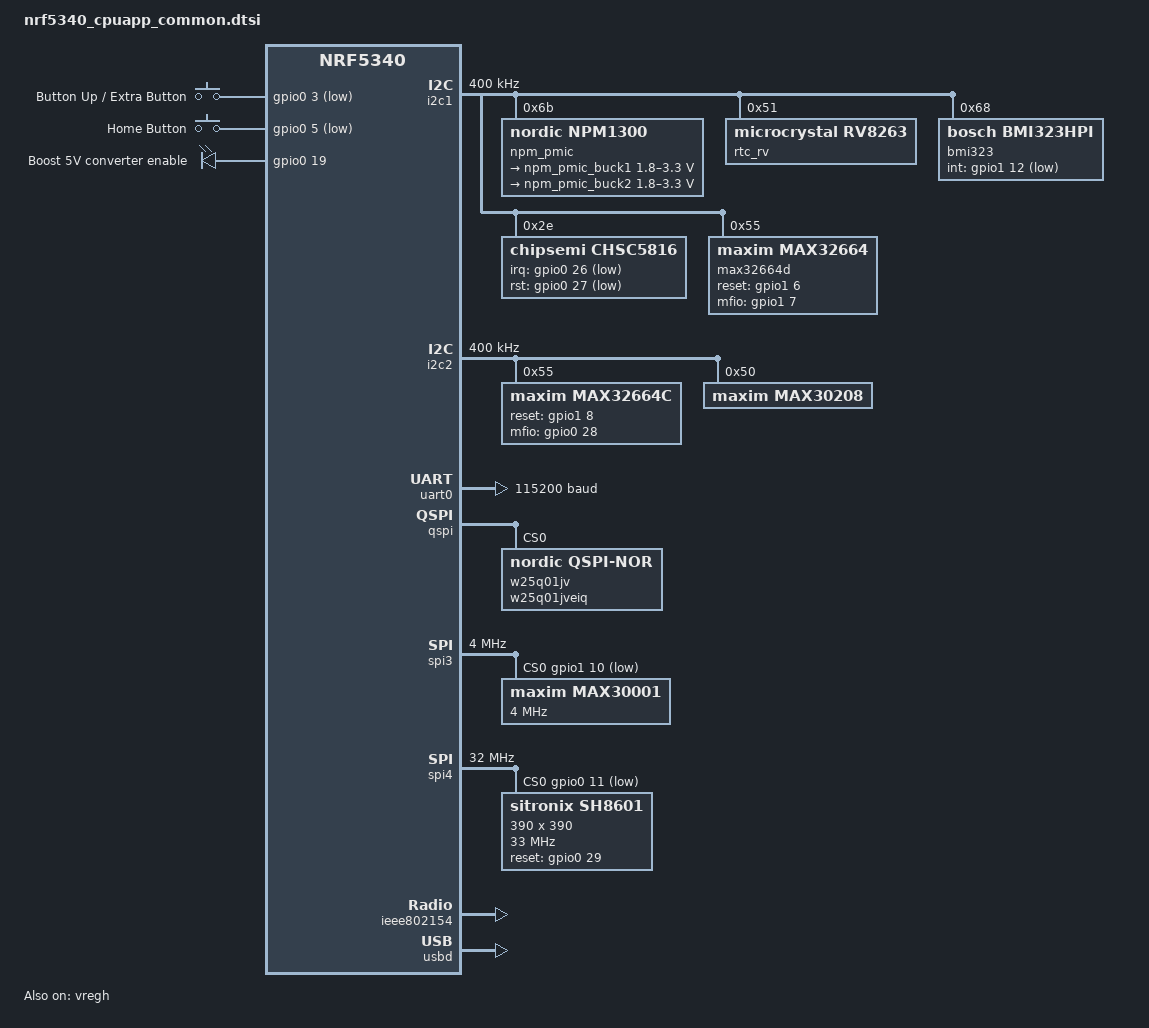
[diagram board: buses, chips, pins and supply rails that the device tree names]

/*
 * Copyright (c) 2019-2020 Nordic Semiconductor ASA
 *
 * SPDX-License-Identifier: Apache-2.0
 */
#include "nrf5340_cpuapp_common-pinctrl.dtsi"
#include <zephyr/dt-bindings/input/input-event-codes.h>
#include <dt-bindings/regulator/npm1300.h>

#include <zephyr/dt-bindings/mipi_dbi/mipi_dbi.h>
#include <zephyr/dt-bindings/lvgl/lvgl.h>

/ {

	chosen {
		zephyr,console = &uart0;
		zephyr,shell-uart = &uart0;
		zephyr,uart-mcumgr = &uart0;
		zephyr,bt-mon-uart = &uart0;
		zephyr,bt-c2h-uart = &uart0;
		zephyr,bt-hci = &bt_hci_ipc0;
		nordic,802154-spinel-ipc = &ipc0;
		zephyr,ieee802154 = &ieee802154;

		zephyr,display= &sh8601;
		nordic,pm-ext-flash = &w25q01jv;
	};

	gpiokeys: gpio_keys {
		compatible = "gpio-keys";
		button_up: sw1 {
			label = "Button Up / Extra Button";
			gpios = <&gpio0 3 (GPIO_PULL_UP | GPIO_ACTIVE_LOW)>;
			zephyr,code = <INPUT_KEY_UP>;
		};

		button_down: sw3 {
			label = "Home Button";
			gpios = <&gpio0 5 (GPIO_PULL_UP | GPIO_ACTIVE_LOW)>;
			zephyr,code = <INPUT_KEY_HOME>;
		};

		/*max30001_intb: max30001_intb {
			label = "MAX30001 INTB";
			gpios = <&gpio1 9 (GPIO_PULL_UP | GPIO_ACTIVE_LOW)>;
			zephyr,code = <INPUT_KEY_0>;
		};*/
	};

	ctrlgpio: gpio_ctrl {
		compatible = "gpio-leds";
		sensor_dcdc_en: dcdc_en {
			gpios = <&gpio0 19 GPIO_ACTIVE_HIGH>;
			label = "Boost 5V converter enable";
		};
	};

	gpio_fwd: nrf-gpio-forwarder {
		compatible = "nordic,nrf-gpio-forwarder";
		status = "okay";
		uart {
			gpios = <&gpio1 1 0>, <&gpio1 0 0>, <&gpio0 10 0>;
		};
	};

	/*mipi_dbi {
		compatible = "zephyr,mipi-dbi-spi";
		reset-gpios = <&gpio0 29 GPIO_ACTIVE_HIGH>;
		//dc-gpios = <&gpio0 12 GPIO_ACTIVE_HIGH>;
		spi-dev = <&spi4>;
		#address-cells = <1>;
		#size-cells = <0>;
	
		sh8601: sh8601@0 {
			compatible = "sitronix,sh8601";
			spi-max-frequency = <DT_FREQ_M(33)>;
			reg = <0>;
			reset-gpios = <&gpio0 29 GPIO_ACTIVE_HIGH>;
			//<&gpio0 29 GPIO_ACTIVE_HIGH>;
			width = <390>;
			height = <390>;
			pixel-format = <0>;
			display-inversion;
			rotation = <0>;
			status = "okay";
			//zephyr,deferred-init;
		};
	};*/

	aliases {
		max30001 = &max30001;
		max32664d = &max32664d;
		//maxm86146 = &maxm86146;
		max32664c = &max32664c;
		rtc = &rtc_rv;
	};

	pointer {
		compatible = "zephyr,lvgl-pointer-input";
		input = <&chsc5816>;
		swap-xy;
	};
};

/* 
/ {
	lvgl_pointer_input: lvgl_pointer {
		compatible = "zephyr,lvgl-pointer-input";
		input = <&chsc5816>;
		//invert-y;
		swap-xy;
		//invert-x;
	};
};
*/

&vregmain {
	regulator-initial-mode = <NRF5X_REG_MODE_DCDC>;
};

&vregradio {
	regulator-initial-mode = <NRF5X_REG_MODE_DCDC>;
};

&vregh {
	status = "okay";
};

&uicr {
	nfct-pins-as-gpios;
};

&gpiote {
	status = "okay";
};

&gpio0 {
	status = "okay";
};

&gpio1 {
	status = "okay";
};

&i2c1 {
	compatible = "nordic,nrf-twim";
	status = "okay";
	pinctrl-0 = <&i2c1_default>;
	pinctrl-1 = <&i2c1_sleep>;
	clock-frequency = <I2C_BITRATE_FAST>;
	pinctrl-names = "default", "sleep";
	zephyr,concat-buf-size = <128>;
	zephyr,flash-buf-max-size = <128>;

	npm_pmic: pmic@6b {
		compatible = "nordic,npm1300";
		//host-int-gpios = <&gpio0 7 GPIO_ACTIVE_LOW>;
		//pmic-int-pin = <2>;
		reg = <0x6b>;

		npm_pmic_gpio: gpio-controller {
			compatible = "nordic,npm1300-gpio";
			gpio-controller;
			#gpio-cells = <2>;
			ngpios = <5>;
		};

		npm_pmic_regulators: regulators {
			compatible = "nordic,npm1300-regulator";

			/* limits are set to min/max allowed values */
			npm_pmic_buck1: BUCK1 {
				regulator-min-microvolt = <1800000>;
				regulator-max-microvolt = <3300000>;
				regulator-init-microvolt = <3000000>;
				//regulator-initial-mode = <NPM1300_BUCK_MODE_PWM>;
			};

			npm_pmic_buck2: BUCK2 {
				regulator-min-microvolt = <1800000>;
				regulator-max-microvolt = <3300000>;
				regulator-init-microvolt =<1800000>;
				regulator-initial-mode = <NPM1300_BUCK_MODE_PWM>;
			};

			npm_pmic_ldo1: LDO1 {
				regulator-initial-mode = <NPM1300_LDSW_MODE_LDSW>;
				//regulator-boot-on;
			};

			npm_pmic_ldo2: LDO2 {
				regulator-initial-mode = <NPM1300_LDSW_MODE_LDSW>;
				//regulator-boot-on;
			};
		};

		npm_pmic_charger: charger {
			compatible = "nordic,npm1300-charger";
			term-microvolt = <4150000>;
			term-warm-microvolt = <4000000>;
			current-microamp = <200000>;
			dischg-limit-microamp = <1000000>;
			vbus-limit-microamp = <500000>;
			thermistor-ohms = <10000>;
			thermistor-beta = <3380>;
			charging-enable;
		};

		npm_pmic_leds: leds {
			compatible = "nordic,npm1300-led";
			nordic,led0-mode = "error";
			nordic,led1-mode = "charging";
			nordic,led2-mode = "host";
		};
	};

	rtc_rv: rv@51 {
		compatible = "microcrystal,rv8263";
		reg = <0x51>;
		zephyr,deferred-init;
	};

	bmi323: bmi323@68 {
		compatible = "bosch,bmi323hpi";
		reg = <0x68>;
		status = "okay";
		int-gpios = <&gpio1 12 GPIO_ACTIVE_LOW>;
		zephyr,deferred-init;
	};

	chsc5816: chsc5816@2e {
		status = "okay";
		compatible = "chipsemi,chsc5816";
		reg = <0x2e>;
		irq-gpios = <&gpio0 26 (GPIO_ACTIVE_LOW)>;// | GPIO_PULL_UP)>;
		rst-gpios = <&gpio0 27 (GPIO_ACTIVE_LOW)>;// | GPIO_PULL_UP)>;
		zephyr,deferred-init;
	};

	max32664d: max32664d@55 {
		compatible = "maxim,max32664";
		reg = <0x55>;
		reset-gpios = <&gpio1 6 GPIO_ACTIVE_HIGH>;
		mfio-gpios = <&gpio1 7 GPIO_ACTIVE_HIGH>;
		status = "okay";
		zephyr,deferred-init;
	};
};

&i2c2 {
	compatible = "nordic,nrf-twim";
	status = "okay";
	pinctrl-0 = <&i2c2_default>;
	pinctrl-1 = <&i2c2_sleep>;
	clock-frequency = <I2C_BITRATE_FAST>;
	pinctrl-names = "default", "sleep";
	zephyr,concat-buf-size = <8250>;
	zephyr,flash-buf-max-size = <8250>;

	/*maxm86146: maxm86146@55 {
		compatible = "maxim,maxm86146";
		reg = <0x55>;
		reset-gpios = <&gpio1 8 GPIO_ACTIVE_HIGH>;
		mfio-gpios = <&gpio0 28 GPIO_ACTIVE_HIGH>;
		status = "okay";
		//zephyr,deferred-init;
	};*/

	max32664c: max32664c@55 {
		compatible = "maxim,max32664c";
		reg = <0x55>;
		reset-gpios = <&gpio1 8 GPIO_ACTIVE_HIGH>;
		mfio-gpios = <&gpio0 28 GPIO_ACTIVE_HIGH>;
		status = "okay";
		zephyr,deferred-init;
	};

	max30208: max30208@50 {
		compatible = "maxim,max30208";
		status = "okay";
		reg = <0x50>;
		//zephyr,deferred-init;
	};
};

&uart0 {
	status = "okay";
	current-speed = <115200>;
	pinctrl-0 = <&uart0_default>;
	pinctrl-1 = <&uart0_sleep>;
	pinctrl-names = "default", "sleep";
};

&pwm0 {
	status = "disabled";
	pinctrl-0 = <&pwm0_default>;
	pinctrl-1 = <&pwm0_sleep>;
	pinctrl-names = "default", "sleep";
};

&uart1 {
	status = "disabled";
};

&adc {
	status = "disabled";
};

&qspi {
	status = "okay";
	pinctrl-0 = <&qspi_default>;
	pinctrl-1 = <&qspi_sleep>;
	pinctrl-names = "default", "sleep";

	w25q01jv: w25q01jveiq@0 {
		compatible = "nordic,qspi-nor";
		reg = <0>;
		//writeoc = "pp2o";
		//readoc = "read2o";
		//quad-enable-requirements = "S2B1v5";
		sck-frequency = <64000000>;
		size = <DT_SIZE_M(128)>;
		has-dpd;
		t-enter-dpd = <30000>;
		t-exit-dpd = <30000>;
		jedec-id = [ ef 40 21  ];
		status = "okay";
	};
};


/*&uart1 {
	compatible = "nordic,nrf-uarte";
	current-speed = <115200>;
	pinctrl-0 = <&uart1_default>;
	pinctrl-1 = <&uart1_sleep>;
	pinctrl-names = "default", "sleep";
};
 */


&spi3 {
	compatible = "nordic,nrf-spim";
	status = "okay";

	pinctrl-0 = <&spi3_default>;
	pinctrl-1 = <&spi3_sleep>;
	pinctrl-names = "default", "sleep";
	cs-gpios = <&gpio1 10 GPIO_ACTIVE_LOW>;
	clock-frequency = <DT_FREQ_M(4)>;

	max30001: max30001@0 {
		compatible = "maxim,max30001";
		status = "okay";
		reg = <0x0>;
		spi-max-frequency = <DT_FREQ_M(4)>;
		//intb-gpios = <&gpio1 9 GPIO_ACTIVE_LOW>;
		rtor-enabled;
		//ecg-enabled;
		//bioz-enabled;
		ecg-gain = <2>;
		//ecg-invert;
		//ecg-dcloff-enable;
		//ecg-dcloff-current = <1>; // 5 nA
	};
};

&spi4 {
	compatible = "nordic,nrf-spim";
	status = "okay";

	pinctrl-0 = <&spi4_default>;
	pinctrl-1 = <&spi4_sleep>;
	pinctrl-names = "default", "sleep";
	clock-frequency = <DT_FREQ_M(32)>;
	cs-gpios = <&gpio0 11 GPIO_ACTIVE_LOW>;    // For Device

	sh8601: sh8601@0 {
		compatible = "sitronix,sh8601";
		spi-max-frequency = <DT_FREQ_M(33)>;
		reg = <0>;
		reset-gpios = <&gpio0 29 GPIO_ACTIVE_HIGH>;
		//<&gpio0 29 GPIO_ACTIVE_HIGH>;
		width = <390>;
		height = <390>;
		pixel-format = <0>;
		//display-inversion;
		rotation = <0>;
		status = "okay";
		//zephyr,deferred-init;
	};
};

&ieee802154 {
	status = "okay";
};

zephyr_udc0: &usbd {
	compatible = "nordic,nrf-usbd";
	status = "okay";
	cdc_acm_uart0 {
		compatible = "zephyr,cdc-acm-uart";
	};
};

&zephyr_udc0 {
	cdc_acm_uart0: cdc_acm_uart0 {
		compatible = "zephyr,cdc-acm-uart";
	};
};

/* Include default memory partition configuration file */
#include <common/nordic/nrf5340_cpuapp_partition.dtsi>
